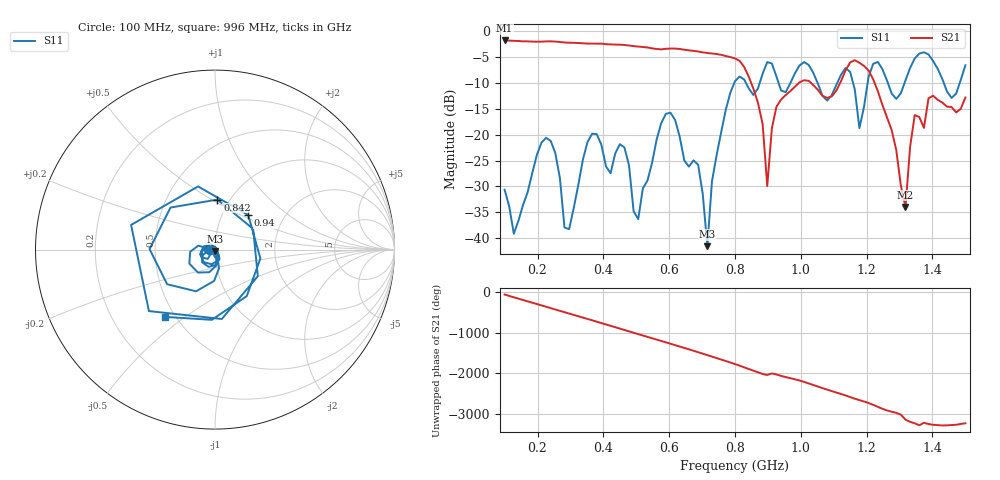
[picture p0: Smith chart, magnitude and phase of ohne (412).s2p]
! NanoVNA-App
! Date: 2025-09-25 14:24:00
! Start: 100MHz Stop: 1,5GHz Points: 101
! S-Parameter data: F S11 S21 S12 S22
# Hz S RI R 50
!  Frequency  S11_Real  S11_Imag  S21_Real  S21_Imag  S12_Real  S12_Imag  S22_Real  S22_Imag
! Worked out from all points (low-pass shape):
!   101 points, 100 MHz to 1.5 GHz, reference 50 ohm
!   highest |S21| = -1.79 dB at 100 MHz (marker M1); lowest = -34.0 dB at 1.318 GHz (marker M2)
!   |S21| within 3 dB of the highest: start of sweep to 771.4 MHz
!   lowest |S11| = -41.5 dB at 716 MHz (marker M3), VSWR 1.02, Z = 49.8 - j0.812 ohm
!   |S11| at or under -10 dB: start of sweep to 797.8 MHz; 833.3 MHz to 875.1 MHz (41.84 MHz wide, 4.9 % of centre); 1.051 GHz to 1.111 GHz (59.66 MHz wide, 5.52 % of centre) (the widest 3 of 7)
!   S12 and S22 are empty: the file has one direction only
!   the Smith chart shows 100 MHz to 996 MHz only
!   S11 on the Smith chart (normalised r, x): 100 MHz: 0.94, -0.01; 842 MHz: 0.88, +0.53; 940 MHz: 1.32, +0.55; 996 MHz: 0.44, -0.42
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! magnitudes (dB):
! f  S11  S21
! 100 MHz  -30.6  -1.8
! 128 MHz  -39.1  -1.9
! 226 MHz  -20.6  -2.0
! 296 MHz  -38.2  -2.2
! 338 MHz  -24.8  -2.3
! 464 MHz  -22.5  -2.7
! 506 MHz  -36.3  -3.0
! 576 MHz  -17.7  -3.5
! 688 MHz  -25.8  -3.9
! 716 MHz  -41.5  -4.2
! 800 MHz  -9.7  -5.3
! 842 MHz  -11.1  -8.8
! 898 MHz  -6.0  -29.9
! 940 MHz  -11.5  -13.2
! 996 MHz  -6.6  -9.9
! 1.038 GHz  -8.1  -10.4
! 1.178 GHz  -18.7  -6.1
! 1.22 GHz  -6.3  -9.3
! 1.276 GHz  -12.1  -19.1
! 1.318 GHz  -9.5  -34.0
! 1.346 GHz  -5.3  -16.2
! 1.5 GHz  -6.6  -12.8
